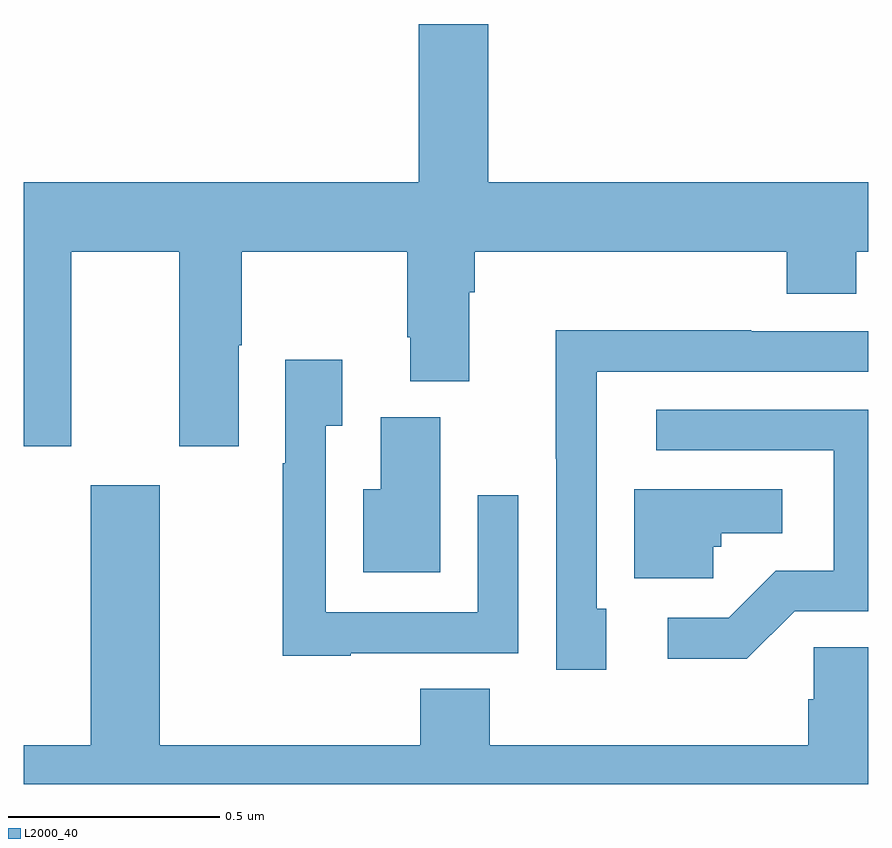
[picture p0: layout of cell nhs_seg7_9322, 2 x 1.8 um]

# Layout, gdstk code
import gdstk
lib = gdstk.Library(unit=1e-6, precision=1e-09)
def P(c, l, *ps):  # polygons
    for p in ps: c.add(gdstk.Polygon(p, *l))
L2000_40 = (2000, 40)

nhs_seg7_9322 = lib.new_cell('nhs_seg7_9322')
P(nhs_seg7_9322, L2000_40, [(236.113,1023.26),(236.369,1023.26),(236.369,1022.799),(236.509,1022.799),(236.509,1023.038),(236.517,1023.038),(236.517,1023.26),(236.908,1023.26),(236.908,1023.058),(236.915,1023.058),(236.915,1022.953),(237.055,1022.953),(237.055,1023.164),(237.068,1023.164),(237.068,1023.26),(237.806,1023.26),(237.806,1023.161),(237.971,1023.161),(237.971,1023.26),(238,1023.26),(238,1023.424),(237.1,1023.424),(237.1,1023.799),(236.936,1023.799),(236.936,1023.424),(236,1023.424),(236,1022.799),(236.113,1022.799)],
  [(237.379,1022.415),(237.357,1022.415),(237.357,1022.976),(238,1022.976),(238,1023.072),(237.722,1023.072),(237.722,1023.074),(237.26,1023.074),(237.26,1022.77),(237.261,1022.77),(237.261,1022.271),(237.379,1022.271)],
  [(236.775,1022.31),(237.171,1022.31),(237.171,1022.683),(237.075,1022.683),(237.075,1022.406),(236.715,1022.406),(236.715,1022.848),(236.755,1022.848),(236.755,1023.004),(236.619,1023.004),(236.619,1022.759),(236.614,1022.759),(236.614,1022.303),(236.775,1022.303)],
  [(237.825,1022.409),(238,1022.409),(238,1022.886),(237.498,1022.886),(237.498,1022.79),(237.918,1022.79),(237.918,1022.505),(237.78,1022.505),(237.669,1022.394),(237.525,1022.394),(237.525,1022.297),(237.712,1022.297)],
  [(236.986,1022.868),(236.846,1022.868),(236.846,1022.698),(236.804,1022.698),(236.804,1022.501),(236.986,1022.501)],
  [(238,1022.324),(237.87,1022.324),(237.87,1022.201),(237.857,1022.201),(237.857,1022.092),(237.104,1022.092),(237.104,1022.225),(236.939,1022.225),(236.939,1022.092),(236.323,1022.092),(236.323,1022.707),(236.159,1022.707),(236.159,1022.092),(236,1022.092),(236,1022),(238,1022)],
  [(237.633,1022.562),(237.652,1022.562),(237.652,1022.594),(237.796,1022.594),(237.796,1022.698),(237.446,1022.698),(237.446,1022.487),(237.633,1022.487)])

lib.write_gds('nhs_seg7_9322.gds')
